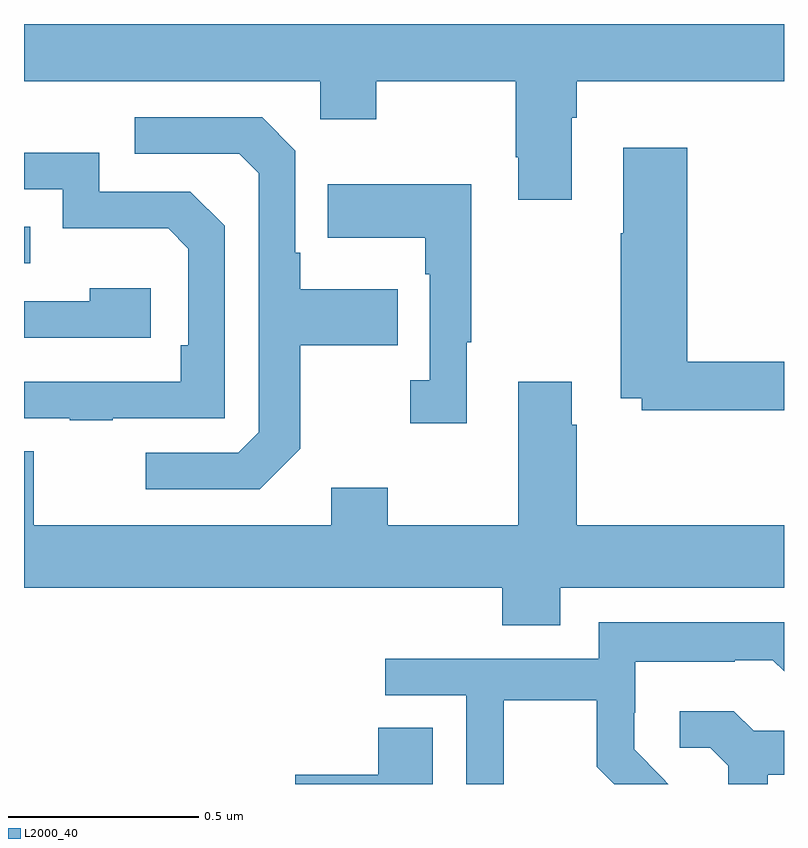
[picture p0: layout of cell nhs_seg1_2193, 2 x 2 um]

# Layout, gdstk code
import gdstk
lib = gdstk.Library(unit=1e-6, precision=1e-09)
def R(c, l, rs):  # rectangles x0, y0, x1, y1
    for r in rs: c.add(gdstk.rectangle(r[:2], r[2:], *l))
def P(c, l, *ps):  # polygons
    for p in ps: c.add(gdstk.Polygon(p, *l))
L2000_40 = (2000, 40)

nhs_seg1_2193 = lib.new_cell('nhs_seg1_2193')
R(nhs_seg1_2193, L2000_40, [(138,568.569,138.017,568.665)])
P(nhs_seg1_2193, L2000_40, [(139.441,568.952),(139.454,568.952),(139.454,569.048),(140,569.048),(140,569.199),(138,569.199),(138,569.048),(138.78,569.048),(138.78,568.949),(138.927,568.949),(138.927,569.048),(139.294,569.048),(139.294,568.849),(139.301,568.849),(139.301,568.737),(139.441,568.737)],
  [(138.727,568.081),(138.727,568.354),(138.983,568.354),(138.983,568.501),(138.727,568.501),(138.727,568.597),(138.714,568.597),(138.714,568.866),(138.627,568.953),(138.291,568.953),(138.291,568.857),(138.567,568.857),(138.618,568.806),(138.618,568.125),(138.564,568.071),(138.321,568.071),(138.321,567.975),(138.621,567.975)],
  [(140,568.31),(139.745,568.31),(139.745,568.873),(139.577,568.873),(139.577,568.649),(139.57,568.649),(139.57,568.214),(139.626,568.214),(139.626,568.182),(140,568.182)],
  [(138.233,568.161),(138.528,568.161),(138.528,568.668),(138.438,568.758),(138.198,568.758),(138.198,568.86),(138,568.86),(138,568.764),(138.102,568.764),(138.102,568.661),(138.379,568.661),(138.432,568.608),(138.432,568.354),(138.412,568.354),(138.412,568.257),(138,568.257),(138,568.161),(138.121,568.161),(138.121,568.156),(138.233,568.156)],
  [(139.165,568.361),(139.177,568.361),(139.177,568.777),(138.799,568.777),(138.799,568.637),(139.056,568.637),(139.056,568.541),(139.068,568.541),(139.068,568.262),(139.017,568.262),(139.017,568.149),(139.165,568.149)],
  [(138.334,568.504),(138.173,568.504),(138.173,568.47),(138,568.47),(138,568.374),(138.334,568.374)],
  [(139.411,567.716),(140,567.716),(140,567.88),(139.454,567.88),(139.454,568.145),(139.441,568.145),(139.441,568.258),(139.301,568.258),(139.301,567.88),(138.957,567.88),(138.957,567.979),(138.809,567.979),(138.809,567.88),(138.025,567.88),(138.025,568.075),(138,568.075),(138,567.716),(139.259,567.716),(139.259,567.617),(139.411,567.617)],
  [(139.263,567.42),(139.507,567.42),(139.507,567.245),(139.553,567.199),(139.695,567.199),(139.679,567.215),(139.68,567.216),(139.606,567.29),(139.606,567.387),(139.608,567.387),(139.608,567.521),(139.871,567.521),(139.871,567.525),(139.971,567.525),(140,567.496),(140,567.625),(139.512,567.625),(139.512,567.528),(138.951,567.528),(138.951,567.432),(139.164,567.432),(139.164,567.199),(139.263,567.199)],
  [(139.957,567.224),(140,567.224),(140,567.339),(139.92,567.339),(139.868,567.391),(139.725,567.391),(139.725,567.294),(139.806,567.294),(139.853,567.247),(139.853,567.199),(139.957,567.199)],
  [(139.075,567.347),(138.932,567.347),(138.932,567.224),(138.714,567.224),(138.714,567.199),(139.075,567.199)])

lib.write_gds('nhs_seg1_2193.gds')
